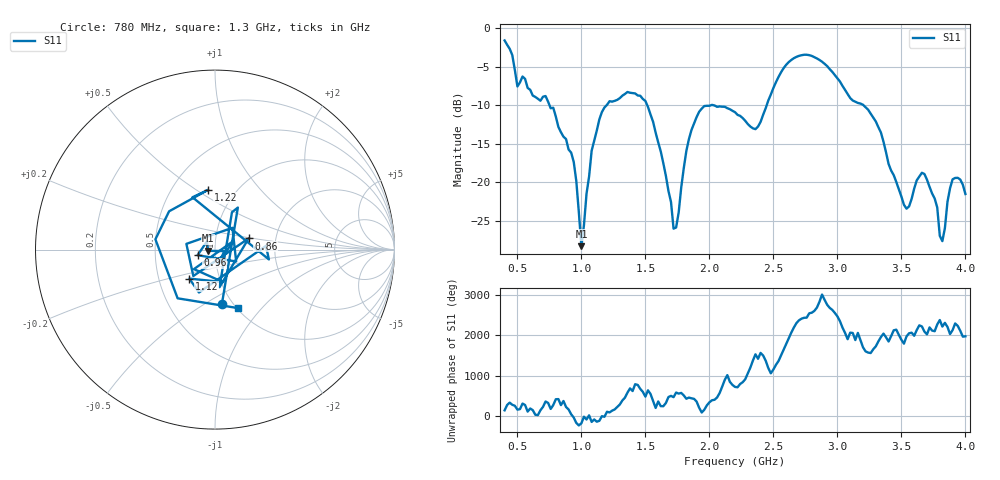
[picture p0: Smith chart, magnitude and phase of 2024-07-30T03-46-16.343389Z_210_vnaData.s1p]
!Created with skrf (http://scikit-rf.org).
# Hz S RI R 50.0
!freq ReS11 ImS11
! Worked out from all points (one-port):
!   181 points, 400 MHz to 4 GHz, reference 50 ohm
!   lowest |S11| = -28.3 dB at 1 GHz (marker M1), VSWR 1.08, Z = 46.4 - j0.633 ohm
!   |S11| at or under -10 dB: 750.3 MHz to 1.198 GHz (447.7 MHz wide, 46 % of centre); 1.514 GHz to 2.015 GHz (501.4 MHz wide, 28.4 % of centre); 3.203 GHz to end of sweep (the widest 3 of 4)
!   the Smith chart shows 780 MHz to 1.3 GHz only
!   S11 on the Smith chart (normalised r, x): 780 MHz: 0.89, -0.59; 860 MHz: 1.45, +0.19; 960 MHz: 0.82, -0.05; 1.12 GHz: 0.72, -0.24; 1.22 GHz: 0.75, +0.56; 1.3 GHz: 1.01, -0.75
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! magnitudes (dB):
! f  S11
! 400 MHz  -1.6
! 500 MHz  -7.6
! 780 MHz  -10.3
! 860 MHz  -14.1
! 960 MHz  -19.8
! 1 GHz  -28.3
! 1.08 GHz  -15.9
! 1.12 GHz  -13.3
! 1.22 GHz  -9.5
! 1.3 GHz  -9.1
! 1.5 GHz  -9.5
! 1.62 GHz  -16.0
! 1.72 GHz  -26.0
! 1.76 GHz  -23.9
! 1.82 GHz  -15.9
! 1.92 GHz  -10.9
! 2.2 GHz  -10.9
! 2.36 GHz  -13.1
! 2.66 GHz  -3.9
! 2.88 GHz  -4.4
! 3.1 GHz  -9.1
! 3.3 GHz  -12.1
! 3.56 GHz  -23.2
! 3.68 GHz  -18.9
! 3.78 GHz  -23.3
! 3.82 GHz  -27.7
! 3.9 GHz  -19.6
! 4 GHz  -21.5
